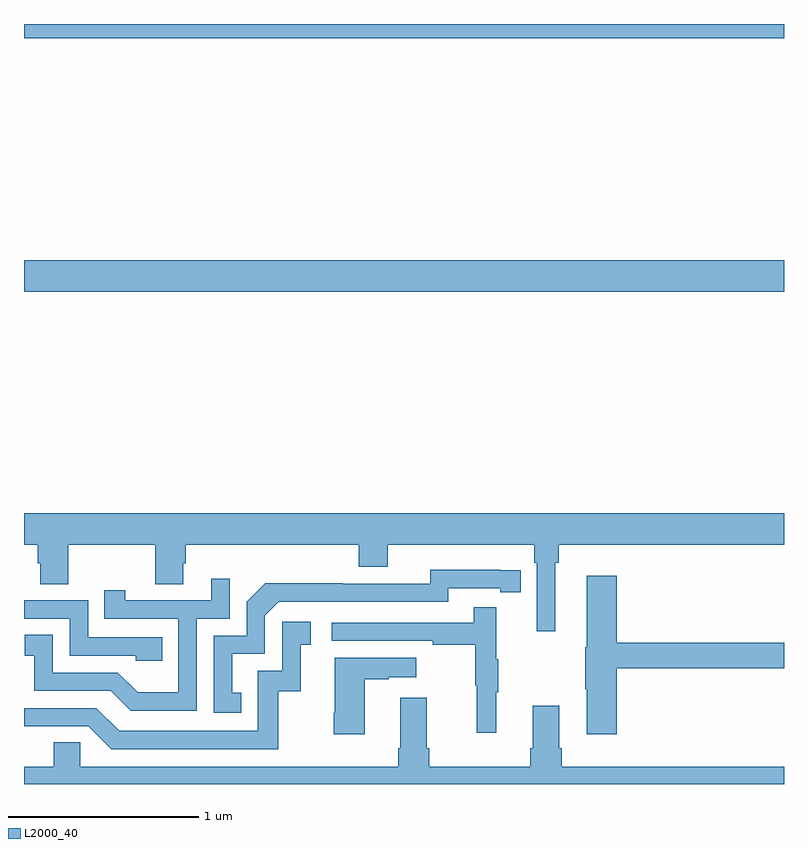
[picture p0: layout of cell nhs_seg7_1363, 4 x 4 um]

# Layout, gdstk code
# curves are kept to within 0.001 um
import gdstk
lib = gdstk.Library(unit=1e-6, precision=1e-09)
def R(c, l, rs):  # rectangles x0, y0, x1, y1
    for r in rs: c.add(gdstk.rectangle(r[:2], r[2:], *l))
def P(c, l, *ps):  # polygons
    for p in ps: c.add(gdstk.Polygon(p, *l))
L2000_40 = (2000, 40)

nhs_seg7_1363 = lib.new_cell('nhs_seg7_1363')
R(nhs_seg7_1363, L2000_40, [(205,1024.592,209,1024.756), (205,1025.924,209,1026)])
P(nhs_seg7_1363, L2000_40, [(207.796,1023.164),(207.815,1023.164),(207.815,1023.26),(209,1023.26),(209,1023.424),(205,1023.424),(205,1023.26),(205.073,1023.26),(205.073,1023.162),(205.085,1023.162),(205.085,1023.052),(205.233,1023.052),(205.233,1023.26),(205.69,1023.26),(205.69,1023.052),(205.837,1023.052),(205.837,1023.162),(205.85,1023.162),(205.85,1023.26),(206.762,1023.26),(206.762,1023.143),(206.914,1023.143),(206.914,1023.26),(207.686,1023.26),(207.686,1023.164),(207.699,1023.164),(207.699,1022.805),(207.796,1022.805)],
  [(206.144,1022.481),(206.095,1022.481),(206.095,1022.685),(206.268,1022.685),(206.268,1022.886),(206.34,1022.958),(207.234,1022.958),(207.234,1023.03),(207.506,1023.03),(207.506,1023.01),(207.614,1023.01),(207.614,1023.126),(207.138,1023.127),(207.138,1023.054),(206.678,1023.054),(206.678,1023.056),(206.27,1023.056),(206.172,1022.958),(206.172,1022.781),(205.998,1022.781),(205.998,1022.376),(206.144,1022.376)],
  [(208.121,1022.608),(209,1022.608),(209,1022.744),(208.121,1022.744),(208.121,1023.097),(207.962,1023.097),(207.962,1022.721),(207.955,1022.721),(207.955,1022.5),(207.962,1022.5),(207.962,1022.262),(208.121,1022.262)],
  [(205.908,1022.871),(206.082,1022.871),(206.082,1023.079),(205.985,1023.079),(205.985,1022.967),(205.534,1022.967),(205.534,1023.019),(205.423,1023.019),(205.423,1022.871),(205.812,1022.871),(205.812,1022.482),(205.598,1022.482),(205.494,1022.586),(205.152,1022.586),(205.152,1022.785),(205.005,1022.785),(205.005,1022.675),(205.054,1022.675),(205.054,1022.49),(205.457,1022.49),(205.562,1022.385),(205.908,1022.385)],
  [(205.727,1022.772),(205.338,1022.772),(205.338,1022.967),(205,1022.967),(205,1022.871),(205.242,1022.871),(205.242,1022.676),(205.587,1022.676),(205.587,1022.649),(205.727,1022.649)],
  [(207.485,1022.483),(207.496,1022.483),(207.496,1022.657),(207.485,1022.657),(207.485,1022.929),(207.367,1022.929),(207.367,1022.85),(206.619,1022.85),(206.619,1022.754),(207.151,1022.754),(207.151,1022.734),(207.375,1022.734),(207.375,1022.52),(207.382,1022.52),(207.382,1022.271),(207.485,1022.271)],
  [(206.338,1022.487),(206.456,1022.487),(206.456,1022.733),(206.509,1022.733),(206.509,1022.854),(206.358,1022.854),(206.358,1022.595),(206.229,1022.595),(206.229,1022.28),(205.5,1022.28),(205.38,1022.4),(205,1022.4),(205,1022.304),(205.338,1022.304),(205.458,1022.184),(206.338,1022.184)],
  [(206.794,1022.551),(206.921,1022.551),(206.921,1022.561),(207.064,1022.561),(207.064,1022.665),(206.636,1022.665),(206.636,1022.374),(206.629,1022.374),(206.629,1022.262),(206.794,1022.262)],
  [(209,1022.092),(207.83,1022.092),(207.83,1022.188),(207.817,1022.188),(207.817,1022.413),(207.677,1022.413),(207.677,1022.188),(207.665,1022.188),(207.665,1022.092),(207.134,1022.092),(207.134,1022.188),(207.121,1022.188),(207.121,1022.455),(206.981,1022.455),(206.981,1022.188),(206.969,1022.188),(206.969,1022.092),(205.296,1022.092),(205.296,1022.219),(205.157,1022.219),(205.157,1022.092),(205,1022.092),(205,1022),(209,1022)])

lib.write_gds('nhs_seg7_1363.gds')
